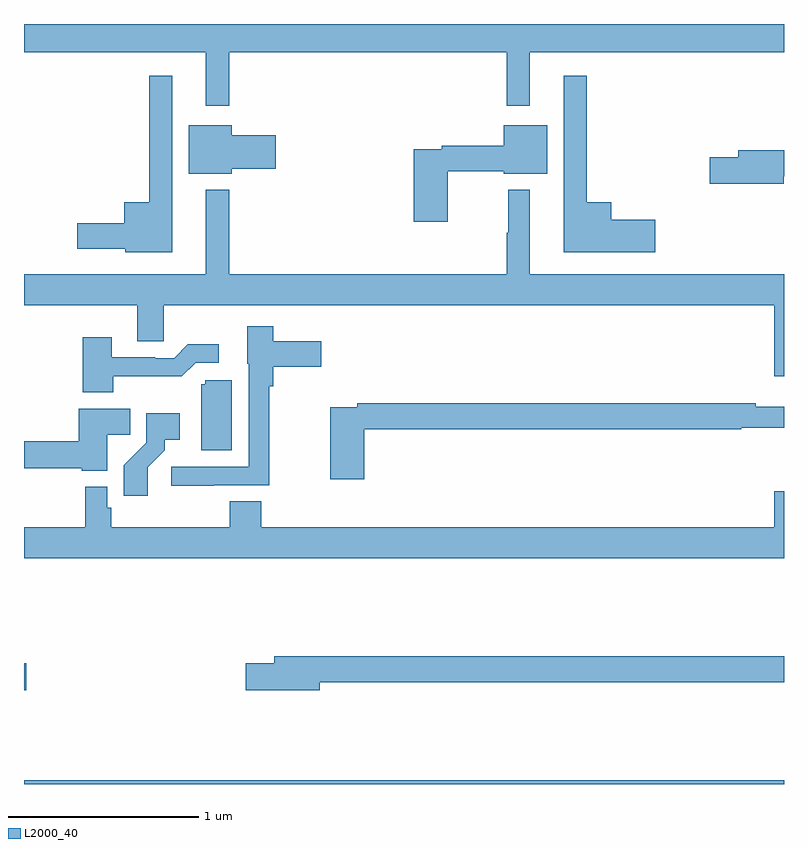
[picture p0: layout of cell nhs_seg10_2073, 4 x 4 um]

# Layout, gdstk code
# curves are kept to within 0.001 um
import gdstk
lib = gdstk.Library(unit=1e-6, precision=1e-09)
def R(c, l, rs):  # rectangles x0, y0, x1, y1
    for r in rs: c.add(gdstk.rectangle(r[:2], r[2:], *l))
def P(c, l, *ps):  # polygons
    for p in ps: c.add(gdstk.Polygon(p, *l))
L2000_40 = (2000, 40)

nhs_seg10_2073 = lib.new_cell('nhs_seg10_2073')
R(nhs_seg10_2073, L2000_40, [(221,1260.5,225,1260.52), (221,1260.994,221.011,1261.136)])
P(nhs_seg10_2073, L2000_40, [(222.079,1264.352),(223.542,1264.352),(223.542,1264.071),(223.663,1264.071),(223.663,1264.352),(225,1264.352),(225,1264.5),(221,1264.5),(221,1264.352),(221.957,1264.352),(221.957,1264.071),(222.079,1264.071)],
  [(221.779,1264.228),(221.658,1264.228),(221.658,1263.562),(221.528,1263.562),(221.528,1263.452),(221.28,1263.452),(221.28,1263.317),(221.532,1263.317),(221.532,1263.299),(221.779,1263.299)],
  [(224.323,1263.47),(224.092,1263.47),(224.092,1263.562),(223.963,1263.562),(223.963,1264.228),(223.841,1264.228),(223.841,1263.299),(224.323,1263.299)],
  [(222.094,1263.737),(222.325,1263.737),(222.325,1263.915),(222.094,1263.915),(222.094,1263.967),(221.867,1263.967),(221.867,1263.713),(222.094,1263.713)],
  [(223.23,1263.724),(223.526,1263.724),(223.526,1263.713),(223.753,1263.713),(223.753,1263.967),(223.526,1263.967),(223.526,1263.86),(223.198,1263.86),(223.198,1263.84),(223.052,1263.84),(223.052,1263.459),(223.23,1263.459)],
  [(224.998,1263.7),(225,1263.7),(225,1263.836),(224.759,1263.836),(224.759,1263.8),(224.61,1263.8),(224.61,1263.658),(224.998,1263.658)],
  [(225,1263.184),(223.663,1263.184),(223.663,1263.628),(223.549,1263.628),(223.549,1263.401),(223.542,1263.401),(223.542,1263.184),(222.079,1263.184),(222.079,1263.628),(221.957,1263.628),(221.957,1263.184),(221,1263.184),(221,1263.02),(221.597,1263.02),(221.597,1262.83),(221.736,1262.83),(221.736,1263.02),(224.948,1263.02),(224.948,1262.646),(225,1262.646)],
  [(221.999,1262.073),(222.292,1262.073),(222.292,1262.594),(222.312,1262.594),(222.312,1262.696),(222.565,1262.696),(222.565,1262.83),(222.312,1262.83),(222.312,1262.908),(222.176,1262.908),(222.176,1262.712),(222.183,1262.712),(222.183,1262.169),(221.775,1262.169),(221.775,1262.071),(221.999,1262.071)],
  [(221.469,1262.646),(221.831,1262.645),(221.904,1262.718),(222.025,1262.718),(222.025,1262.815),(221.863,1262.815),(221.79,1262.742),(221.69,1262.742),(221.69,1262.745),(221.461,1262.745),(221.461,1262.851),(221.309,1262.851),(221.309,1262.561),(221.469,1262.561)],
  [(222.094,1262.625),(221.955,1262.625),(221.955,1262.604),(221.933,1262.604),(221.933,1262.256),(222.094,1262.256)],
  [(222.791,1262.368),(224.774,1262.368),(224.774,1262.376),(225,1262.376),(225,1262.485),(224.852,1262.485),(224.852,1262.504),(222.754,1262.504),(222.754,1262.484),(222.613,1262.484),(222.613,1262.103),(222.791,1262.103)],
  [(221.437,1262.338),(221.558,1262.338),(221.558,1262.476),(221.288,1262.476),(221.288,1262.303),(221,1262.303),(221,1262.161),(221.304,1262.161),(221.304,1262.15),(221.437,1262.15)],
  [(221.65,1262.167),(221.74,1262.257),(221.74,1262.312),(221.821,1262.312),(221.821,1262.452),(221.643,1262.452),(221.643,1262.297),(221.524,1262.178),(221.524,1262.016),(221.65,1262.016)],
  [(225,1262.041),(224.948,1262.041),(224.948,1261.852),(222.248,1261.852),(222.248,1261.988),(222.083,1261.988),(222.083,1261.852),(221.459,1261.852),(221.459,1261.953),(221.439,1261.953),(221.439,1262.065),(221.323,1262.065),(221.323,1261.852),(221,1261.852),(221,1261.688),(225,1261.688)],
  [(222.556,1261.036),(225,1261.036),(225,1261.172),(222.317,1261.172),(222.317,1261.136),(222.168,1261.136),(222.168,1260.994),(222.556,1260.994)])

lib.write_gds('nhs_seg10_2073.gds')
